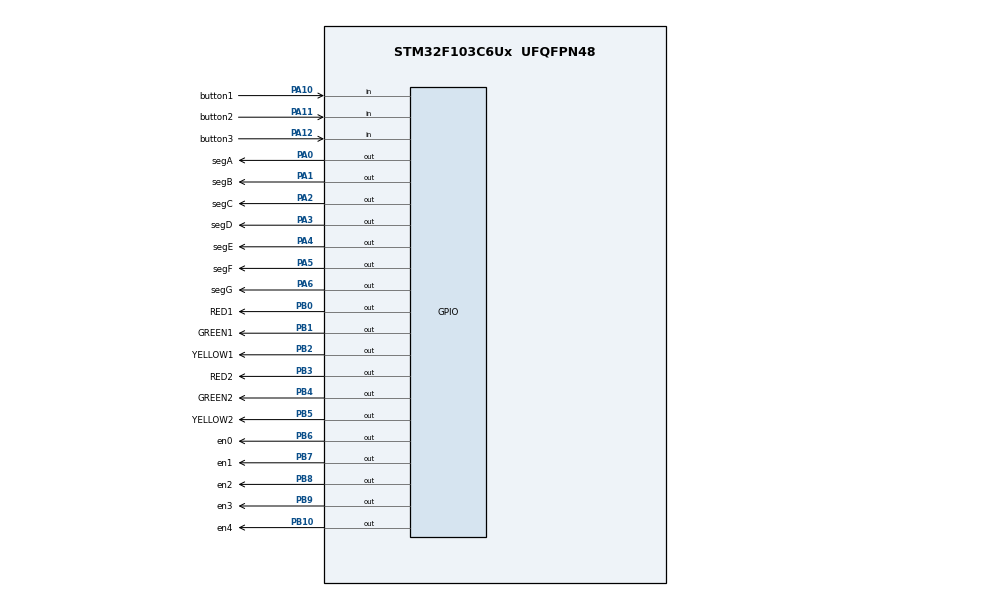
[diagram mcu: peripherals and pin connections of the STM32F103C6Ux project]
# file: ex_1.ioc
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Mcu.Family=STM32F1
Mcu.Name=STM32F103C6Ux
Mcu.Package=UFQFPN48
NVIC.PriorityGroup=NVIC_PRIORITYGROUP_4
NVIC.TIM2_IRQn=true\:1\:0\:true\:false\:true\:true\:true
PA0-WKUP.GPIO_Label=segA
PA0-WKUP.GPIO_Speed=GPIO_SPEED_FREQ_HIGH
PA0-WKUP.Signal=GPIO_Output
PA1.GPIO_Label=segB
PA1.GPIO_Speed=GPIO_SPEED_FREQ_HIGH
PA1.Signal=GPIO_Output
PA10.GPIO_Label=button1
PA10.GPIO_PuPd=GPIO_PULLUP
PA10.Signal=GPIO_Input
PA11.GPIO_Label=button2
PA11.GPIO_PuPd=GPIO_PULLUP
PA11.Signal=GPIO_Input
PA12.GPIO_Label=button3
PA12.GPIO_PuPd=GPIO_PULLUP
PA12.Signal=GPIO_Input
PA13.Mode=Serial_Wire
PA13.Signal=SYS_JTMS-SWDIO
PA14.Mode=Serial_Wire
PA14.Signal=SYS_JTCK-SWCLK
PA2.GPIO_Label=segC
PA2.GPIO_Speed=GPIO_SPEED_FREQ_HIGH
PA2.Signal=GPIO_Output
PA3.GPIO_Label=segD
PA3.GPIO_Speed=GPIO_SPEED_FREQ_HIGH
PA3.Signal=GPIO_Output
PA4.GPIO_Label=segE
PA4.GPIO_Speed=GPIO_SPEED_FREQ_HIGH
PA4.Signal=GPIO_Output
PA5.GPIO_Label=segF
PA5.GPIO_Speed=GPIO_SPEED_FREQ_HIGH
PA5.Signal=GPIO_Output
PA6.GPIO_Label=segG
PA6.GPIO_Speed=GPIO_SPEED_FREQ_HIGH
PA6.Signal=GPIO_Output
PB0.GPIO_Label=RED1
PB0.GPIO_Speed=GPIO_SPEED_FREQ_HIGH
PB0.PinState=GPIO_PIN_SET
PB0.Signal=GPIO_Output
PB1.GPIO_Label=GREEN1
PB1.GPIO_Speed=GPIO_SPEED_FREQ_HIGH
PB1.PinState=GPIO_PIN_SET
PB1.Signal=GPIO_Output
PB10.GPIO_Label=en4
PB10.GPIO_Speed=GPIO_SPEED_FREQ_HIGH
PB10.Signal=GPIO_Output
PB2.GPIO_Label=YELLOW1
PB2.GPIO_Speed=GPIO_SPEED_FREQ_HIGH
PB2.PinState=GPIO_PIN_SET
PB2.Signal=GPIO_Output
PB3.GPIO_Label=RED2
PB3.GPIO_Speed=GPIO_SPEED_FREQ_HIGH
PB3.PinState=GPIO_PIN_SET
PB3.Signal=GPIO_Output
PB4.GPIO_Label=GREEN2
PB4.GPIO_Speed=GPIO_SPEED_FREQ_HIGH
PB4.PinState=GPIO_PIN_SET
PB4.Signal=GPIO_Output
PB5.GPIO_Label=YELLOW2
PB5.GPIO_Speed=GPIO_SPEED_FREQ_HIGH
PB5.PinState=GPIO_PIN_SET
PB5.Signal=GPIO_Output
PB6.GPIO_Label=en0
PB6.GPIO_Speed=GPIO_SPEED_FREQ_HIGH
PB6.Signal=GPIO_Output
PB7.GPIO_Label=en1
PB7.GPIO_Speed=GPIO_SPEED_FREQ_HIGH
PB7.Signal=GPIO_Output
PB8.GPIO_Label=en2
PB8.GPIO_Speed=GPIO_SPEED_FREQ_HIGH
PB8.Signal=GPIO_Output
PB9.GPIO_Label=en3
PB9.GPIO_Speed=GPIO_SPEED_FREQ_HIGH
PB9.Signal=GPIO_Output
ProjectManager.HeapSize=0x200
ProjectManager.StackSize=0x400
ProjectManager.TargetToolchain=STM32CubeIDE
RCC.APB1Freq_Value=8000000
RCC.APB2Freq_Value=8000000
TIM2.Period=9
TIM2.Prescaler=799
VP_TIM2_VS_ClockSourceINT.Mode=Internal
board=custom

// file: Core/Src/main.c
/* USER CODE BEGIN Header */
/**
 ******************************************************************************
 * @file           : main.c
 * @brief          : Main program body
 ******************************************************************************
 * @attention
 *
 * <h2><center>&copy; Copyright (c) 2023 STMicroelectronics.
 * All rights reserved.</center></h2>
 *
 * This software component is licensed by ST under BSD 3-Clause license,
 * the "License"; You may not use this file except in compliance with the
 * License. You may obtain a copy of the License at:
 *                        opensource.org/licenses/BSD-3-Clause
 *
 ******************************************************************************
 */
/* USER CODE END Header */
#include "main.h"

/* USER CODE BEGIN Includes */
#include <string.h>
#include "softwareTimer.h"
#include "button.h"
#include "normalMode.h"
#include "deviceDriverSingleLed.h"
#include "deviceDriver7Segment.h"
/* USER CODE END Includes */

/* USER CODE BEGIN PD */
#define INITMODE 0
#define MODE1 1
#define MODE2 2
#define MODE3 3
#define MODE4 4

/* USER CODE END PD */

TIM_HandleTypeDef htim2;

/* USER CODE BEGIN PV */
int modeStatus = MODE1;
int flagAdvancedMode = 0;
/* USER CODE END PV */

/* Priv
ate function prototypes -----------------------------------------------*/
void SystemClock_Config(void);
static void MX_GPIO_Init(void);
static void MX_TIM2_Init(void);

int main(void)
{

	/* MCU Configuration--------------------------------------------------------*/

	/* Reset of all peripherals, Initializes the Flash interface and the Systick. */
	HAL_Init();

	/* Configure the system clock */
	SystemClock_Config();

	/* Initialize all configured peripherals */
	MX_GPIO_Init();
	MX_TIM2_Init();
	/* USER CODE BEGIN 2 */
	HAL_TIM_Base_Start_IT(&htim2);

	/* USER CODE END 2 */

	/* Infinite loop */
	offAllSingLEDs();
	normalModeFunction();
	setTimer2(100);
	DISPLAYALL7SEG();
	setTimer4(20);
	setTimer1(1);
	while (1)
	{
		if (flag1 == 1) // flag for button
		{
			setTimer1(1);
			getInput();
			if (flagButton[0] == PRESS_STATE)
			{
				flagButton[0] = NORMAL_STATE;
				switch (modeStatus)
				{
				case INITMODE:
					modeStatus = MODE1;
					flagAdvancedMode = 0;
					tempDurationLedGreen = durationLedGreen;
					tempDurationLedRed = durationLedRed;
					tempDurationLedYellow = durationLedYellow;
					offAllSingLEDs();
					update7SEGBufferMode(MODE1);
					normalModeFunction();
					setTimer2(100);
					DISPLAYALL7SEG();
					setTimer4(20);
					break;
				case MODE1:
					modeStatus = MODE2;
					flagAdvancedMode = 1;
					offAllSingLEDs();
					blinkingRED();
					setTimer3(50);
					update7SEGBufferTraffic1(durationLedRed);
					update7SEGBufferTraffic2(durationLedRed);
					update7SEGBufferMode(MODE2);
					break;
				case MODE2:
					modeStatus = MODE3;
					flagAdvancedMode = 1;
					offAllSingLEDs();
					blinkingYELLOW();
					setTimer3(50);
					update7SEGBufferTraffic1(durationLedYellow);
					update7SEGBufferTraffic2(durationLedYellow);
					update7SEGBufferMode(MODE3);
					break;
				case MODE3:
					modeStatus = MODE4;
					flagAdvancedMode = 1;
					offAllSingLEDs();
					blinkingGREEN();
					setTimer3(50);
					update7SEGBufferTraffic1(durationLedGreen);
					update7SEGBufferTraffic2(durationLedGreen);
					update7SEGBufferMode(MODE4);
					break;
				case MODE4:
					modeStatus = MODE1;
					flagAdvancedMode = 0;
					tempDurationLedGreen = durationLedGreen;
					tempDurationLedRed = durationLedRed;
					tempDurationLedYellow = durationLedYellow;
					offAllSingLEDs();
					update7SEGBufferMode(MODE1);
					normalModeFunction();
					setTimer2(100);
					break;
				default:
					break;
				}
			}
			if (flagButton[1] == PRESS_STATE)
			{
				flagButton[1] = NORMAL_STATE;
				switch (modeStatus)
				{
				case MODE2:
					tempDurationLedRed++;
					if (tempDurationLedRed > 99)
					{
						tempDurationLedRed = 0;
					}
					update7SEGBufferTraffic1(tempDurationLedRed);
					update7SEGBufferTraffic2(tempDurationLedRed);
					break;
				case MODE3:
					tempDurationLedYellow++;
					if (tempDurationLedYellow > 99)
					{
						tempDurationLedYellow = 0;
					}
					update7SEGBufferTraffic1(tempDurationLedYellow);
					update7SEGBufferTraffic2(tempDurationLedYellow);
					break;
				case MODE4:
					tempDurationLedGreen++;
					if (tempDurationLedGreen > 99)
					{
						tempDurationLedGreen = 0;
					}
					update7SEGBufferTraffic1(tempDurationLedGreen);
					update7SEGBufferTraffic2(tempDurationLedGreen);
					break;
				default:
					break;
				}
			}
			if (flagButton[2] == PRESS_STATE)
			{
				flagButton[2] = NORMAL_STATE;
				if (tempDurationLedRed != tempDurationLedYellow + tempDurationLedGreen)
				{
					switch (modeStatus)
					{
					case MODE4:
						update7SEGBufferTraffic1(88);
						update7SEGBufferTraffic2(88);
						update7SEGBufferMode(8);
						onAllSingLEDs();
						modeStatus = INITMODE;
						break;
					default:
						break;
					}
				}
				else
				{
					durationLedGreen = tempDurationLedGreen;
					durationLedRed = tempDurationLedRed;
					durationLedYellow = tempDurationLedYellow;
					statusTraffic1 = INIT1;
					statusTraffic2 = INIT2;
					if (modeStatus == 1 || modeStatus == 0)
					{
						normalModeFunction();
						setTimer2(1000);
					}
				}
			}
		}
		if (flag2 == 1) // flag normal led
		{
			setTimer2(100);
			if (flagAdvancedMode == 0)
			{
				normalModeFunction();
			}
		}
		if (flag3 == 1) // flag for model modify
		{
			setTimer3(50);
			if (flagAdvancedMode == 1)
			{
				switch (modeStatus)
				{
				case MODE2:
					blinkingRED();
					break;
				case MODE3:
					blinkingYELLOW();
					break;
				case MODE4:
					blinkingGREEN();
					break;
				default:
					break;
				}
			}
		}
		if (flag4 == 1)
		{
			DISPLAYALL7SEG();
			setTimer4(20);
		}

		/* USER CODE END WHILE */

	}
}

void SystemClock_Config(void)
{
	RCC_OscInitTypeDef RCC_OscInitStruct = {0};
	RCC_ClkInitTypeDef RCC_ClkInitStruct = {0};

	/** Initializes the RCC Oscillators according to the specified parameters
	 * in the RCC_OscInitTypeDef structure.
	 */
	RCC_OscInitStruct.OscillatorType = RCC_OSCILLATORTYPE_HSI;
	RCC_OscInitStruct.HSIState = RCC_HSI_ON;
	RCC_OscInitStruct.HSICalibrationValue = RCC_HSICALIBRATION_DEFAULT;
	RCC_OscInitStruct.PLL.PLLState = RCC_PLL_NONE;
	if (HAL_RCC_OscConfig(&RCC_OscInitStruct) != HAL_OK)
	{
		Error_Handler();
	}
	/** Initializes the CPU, AHB and APB buses clocks
	 */
	RCC_ClkInitStruct.ClockType = RCC_CLOCKTYPE_HCLK | RCC_CLOCKTYPE_SYSCLK | RCC_CLOCKTYPE_PCLK1 | RCC_CLOCKTYPE_PCLK2;
	RCC_ClkInitStruct.SYSCLKSource = RCC_SYSCLKSOURCE_HSI;
	RCC_ClkInitStruct.AHBCLKDivider = RCC_SYSCLK_DIV1;
	RCC_ClkInitStruct.APB1CLKDivider = RCC_HCLK_DIV1;
	RCC_ClkInitStruct.APB2CLKDivider = RCC_HCLK_DIV1;

	if (HAL_RCC_ClockConfig(&RCC_ClkInitStruct, FLASH_LATENCY_0) != HAL_OK)
	{
		Error_Handler();
	}
}

static void MX_TIM2_Init(void)
{

	TIM_ClockConfigTypeDef sClockSourceConfig = {0};
	TIM_MasterConfigTypeDef sMasterConfig = {0};

	htim2.Instance = TIM2;
	htim2.Init.Prescaler = 7999;
	htim2.Init.CounterMode = TIM_COUNTERMODE_UP;
	htim2.Init.Period = 9;
	htim2.Init.ClockDivision = TIM_CLOCKDIVISION_DIV1;
	htim2.Init.AutoReloadPreload = TIM_AUTORELOAD_PRELOAD_DISABLE;
	if (HAL_TIM_Base_Init(&htim2) != HAL_OK)
	{
		Error_Handler();
	}
	sClockSourceConfig.ClockSource = TIM_CLOCKSOURCE_INTERNAL;
	if (HAL_TIM_ConfigClockSource(&htim2, &sClockSourceConfig) != HAL_OK)
	{
		Error_Handler();
	}
	sMasterConfig.MasterOutputTrigger = TIM_TRGO_RESET;
	sMasterConfig.MasterSlaveMode = TIM_MASTERSLAVEMODE_DISABLE;
	if (HAL_TIMEx_MasterConfigSynchronization(&htim2, &sMasterConfig) != HAL_OK)
	{
		Error_Handler();
	}
}

static void MX_GPIO_Init(void)
{
	GPIO_InitTypeDef GPIO_InitStruct = {0};

	/* GPIO Ports Clock Enable */
	__HAL_RCC_GPIOA_CLK_ENABLE();
	__HAL_RCC_GPIOB_CLK_ENABLE();

	/*Configure GPIO pin Output Level */
	HAL_GPIO_WritePin(GPIOA, segA_Pin | segB_Pin | segC_Pin | segD_Pin | segE_Pin | segF_Pin | segG_Pin, GPIO_PIN_RESET);

	/*Configure GPIO pin Output Level */
	HAL_GPIO_WritePin(GPIOB, RED1_Pin | GREEN1_Pin | YELLOW1_Pin | RED2_Pin | GREEN2_Pin | YELLOW2_Pin, GPIO_PIN_SET);

	/*Configure GPIO pin Output Level */
	HAL_GPIO_WritePin(GPIOB, en4_Pin | en0_Pin | en1_Pin | en2_Pin | en3_Pin, GPIO_PIN_RESET);

	/*Configure GPIO pins : segA_Pin segB_Pin segC_Pin segD_Pin
							 segE_Pin segF_Pin segG_Pin */
	GPIO_InitStruct.Pin = segA_Pin | segB_Pin | segC_Pin | segD_Pin | segE_Pin | segF_Pin | segG_Pin;
	GPIO_InitStruct.Mode = GPIO_MODE_OUTPUT_PP;
	GPIO_InitStruct.Pull = GPIO_NOPULL;
	GPIO_InitStruct.Speed = GPIO_SPEED_FREQ_HIGH;
	HAL_GPIO_Init(GPIOA, &GPIO_InitStruct);

	/*Configure GPIO pins : RED1_Pin GREEN1_Pin YELLOW1_Pin en4_Pin
							 RED2_Pin GREEN2_Pin YELLOW2_Pin en0_Pin
							 en1_Pin en2_Pin en3_Pin */
	GPIO_InitStruct.Pin = RED1_Pin | GREEN1_Pin | YELLOW1_Pin | en4_Pin | RED2_Pin | GREEN2_Pin | YELLOW2_Pin | en0_Pin | en1_Pin | en2_Pin | en3_Pin;
	GPIO_InitStruct.Mode = GPIO_MODE_OUTPUT_PP;
	GPIO_InitStruct.Pull = GPIO_NOPULL;
	GPIO_InitStruct.Speed = GPIO_SPEED_FREQ_HIGH;
	HAL_GPIO_Init(GPIOB, &GPIO_InitStruct);

	/*Configure GPIO pins : button1_Pin button2_Pin button3_Pin */
	GPIO_InitStruct.Pin = button1_Pin | button2_Pin | button3_Pin;
	GPIO_InitStruct.Mode = GPIO_MODE_INPUT;
	GPIO_InitStruct.Pull = GPIO_PULLUP;
	HAL_GPIO_Init(GPIOA, &GPIO_InitStruct);
}

/* USER CODE BEGIN 4 */
void HAL_TIM_PeriodElapsedCallback(TIM_HandleTypeDef *htim)
{
	runTimer();
}

/* USER CODE END 4 */

void Error_Handler(void)
{
	__disable_irq();
	while (1)
	{
	}
}

/************************ (C) COPYRIGHT STMicroelectronics *****END OF FILE****/
